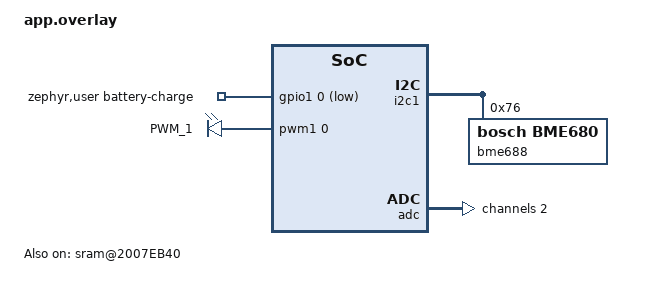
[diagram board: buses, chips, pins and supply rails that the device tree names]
/*
 * Copyright (c) 2021 Nordic Semiconductor ASA
 *
 * SPDX-License-Identifier: LicenseRef-Nordic-5-Clause
 */

#include <zephyr/dt-bindings/ipc_service/static_vrings.h>

/ {
	zephyr,user {
		battery-charge-gpios = <&gpio1 0 (GPIO_PULL_UP | GPIO_ACTIVE_LOW)>;
	};

	pwmbuzzer {
		compatible = "pwm-leds";
		status = "okay";

		buzzer: buzzer_pwm {
			pwms = <&pwm1 0 PWM_HZ(100) PWM_POLARITY_NORMAL>;
			label = "PWM_1";
		};
	};

	aliases {
		buzzer-pwm = &buzzer;
	};

	sram@2007EB40 {
		compatible = "zephyr,memory-region", "mmio-sram";
		reg = <0x2007EB40 0x14C0>;
		zephyr,memory-region = "DiagnosticLogMem";
		status = "okay";
		retainedmem {
			compatible = "zephyr,retained-ram";
			status = "okay";
			#address-cells = <1>;
			#size-cells = <1>;
			/* Reserve 192 B for the crash logs. */
			crash_retention: retention@0 {
					compatible = "zephyr,retention";
					status = "okay";
					reg = <0x0 0xC0>;
					prefix = [08 04];
					checksum = <2>;
			};

			/* Reserve 4 kB for the end user logs. */
			end_user_logs_retention: retention@c0 {
					compatible = "zephyr,retention";
					status = "okay";
					reg = <0xC0 0x1000>;
					prefix = [06 03];
					checksum = <2>;
			};

			/* Reserve 1 kB for the network logs. */
			network_logs_retention: retention@10c0 {
					compatible = "zephyr,retention";
					status = "okay";
					reg = <0x10C0 0x400>;
					prefix = [05 02];
					checksum = <2>;
			};
		};
	};
};

/* Set IPC thread priority to the highest value to not collide with other threads. */
&ipc0 {
    zephyr,priority = <0 PRIO_COOP>;
};

&i2c1 {
	bme688@76 {
		compatible = "bosch,bme680";
		reg = <0x76>;
	};
};

&adc {
	#address-cells = <1>;
	#size-cells = <0>;

	channel@2 {
		reg = <2>;
		zephyr,gain = "ADC_GAIN_1";
		zephyr,reference = "ADC_REF_INTERNAL";
		zephyr,acquisition-time = <ADC_ACQ_TIME(ADC_ACQ_TIME_MICROSECONDS, 40)>;
		zephyr,input-positive = <NRF_SAADC_AIN2>;
		zephyr,resolution = <12>;
		zephyr,oversampling = <4>;
	};
};

/* Disable unused peripherals to reduce power consumption */
&pwm0 {
	status = "disabled";
};
&pwm2 {
	status = "disabled";
};

/* Reduce SRAM0 usage by 5312B to account for non-init area */
&sram0 {
	reg = <0x20000000 0x7EB40>;
};
